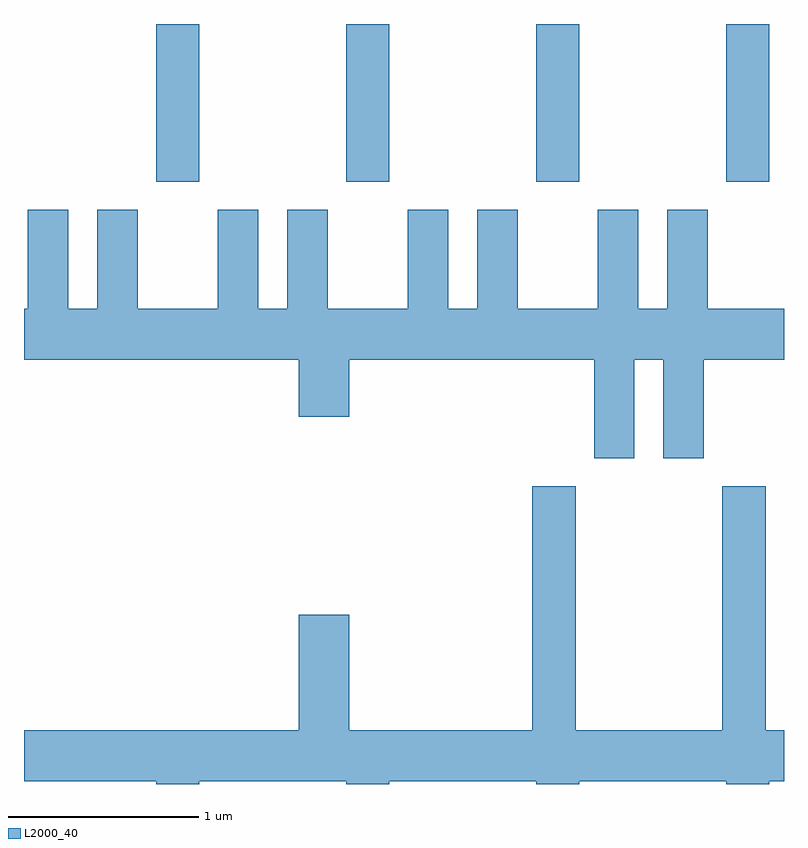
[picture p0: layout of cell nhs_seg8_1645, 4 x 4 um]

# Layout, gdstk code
import gdstk
lib = gdstk.Library(unit=1e-6, precision=1e-09)
def R(c, l, rs):  # rectangles x0, y0, x1, y1
    for r in rs: c.add(gdstk.rectangle(r[:2], r[2:], *l))
def A(c, l, x, y, w, h, nx, ny, dx, dy):  # array of equal rectangles
    R(c, l, [(x+i*dx, y+j*dy, x+i*dx+w, y+j*dy+h) for i in range(nx) for j in range(ny)])
def P(c, l, *ps):  # polygons
    for p in ps: c.add(gdstk.Polygon(p, *l))
L2000_40 = (2000, 40)

nhs_seg8_1645 = lib.new_cell('nhs_seg8_1645')
A(nhs_seg8_1645, L2000_40, 234.306, 1899.511, 0.228, 0.831, 4, 1, 1, 0)
P(nhs_seg8_1645, L2000_40, [(236.824,1898.576),(236.976,1898.576),(236.976,1898.056),(237.189,1898.056),(237.189,1898.576),(237.611,1898.576),(237.611,1898.844),(237.209,1898.844),(237.209,1899.364),(236.996,1899.364),(236.996,1898.844),(236.844,1898.844),(236.844,1899.364),(236.631,1899.364),(236.631,1898.844),(236.209,1898.844),(236.209,1899.364),(235.996,1899.364),(235.996,1898.844),(235.844,1898.844),(235.844,1899.364),(235.631,1899.364),(235.631,1898.844),(235.209,1898.844),(235.209,1899.364),(234.996,1899.364),(234.996,1898.844),(234.844,1898.844),(234.844,1899.364),(234.631,1899.364),(234.631,1898.844),(234.209,1898.844),(234.209,1899.364),(233.996,1899.364),(233.996,1898.844),(233.844,1898.844),(233.844,1899.364),(233.631,1899.364),(233.631,1898.844),(233.611,1898.844),(233.611,1898.576),(235.056,1898.576),(235.056,1898.276),(235.324,1898.276),(235.324,1898.576),(236.611,1898.576),(236.611,1898.056),(236.824,1898.056)],
  [(234.534,1896.356),(235.306,1896.356),(235.306,1896.342),(235.534,1896.342),(235.534,1896.356),(236.306,1896.356),(236.306,1896.342),(236.534,1896.342),(236.534,1896.356),(237.306,1896.356),(237.306,1896.342),(237.534,1896.342),(237.534,1896.356),(237.611,1896.356),(237.611,1896.624),(237.514,1896.624),(237.514,1897.909),(237.286,1897.909),(237.286,1896.624),(236.514,1896.624),(236.514,1897.909),(236.286,1897.909),(236.286,1896.624),(235.324,1896.624),(235.324,1897.234),(235.056,1897.234),(235.056,1896.624),(233.611,1896.624),(233.611,1896.356),(234.306,1896.356),(234.306,1896.342),(234.534,1896.342)])

lib.write_gds('nhs_seg8_1645.gds')
